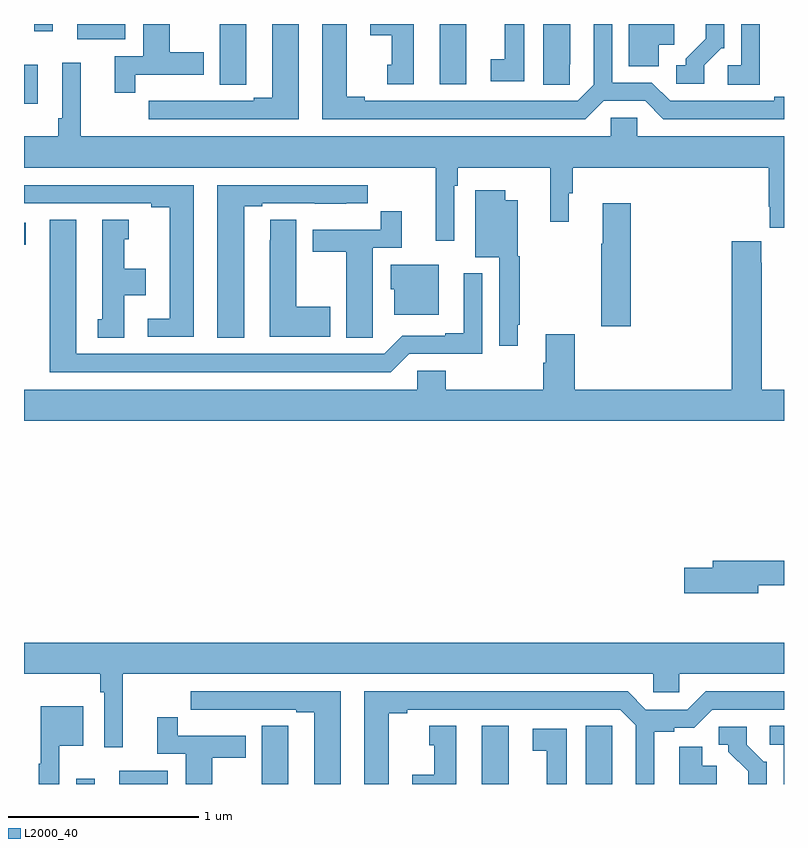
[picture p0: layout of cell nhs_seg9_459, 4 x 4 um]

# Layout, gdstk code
import gdstk
lib = gdstk.Library(unit=1e-6, precision=1e-09)
def R(c, l, rs):  # rectangles x0, y0, x1, y1
    for r in rs: c.add(gdstk.rectangle(r[:2], r[2:], *l))
def P(c, l, *ps):  # polygons
    for p in ps: c.add(gdstk.Polygon(p, *l))
L2000_40 = (2000, 40)

nhs_seg9_459 = lib.new_cell('nhs_seg9_459')
R(nhs_seg9_459, L2000_40, [(133.275,1202.5,133.372,1202.527), (133.502,1202.5,133.756,1202.569), (135.41,1202.5,135.55,1202.806), (133,1205.338,133.009,1205.454), (133,1206.08,133.072,1206.286), (135.188,1206.183,135.328,1206.5), (133.28,1206.419,133.534,1206.5), (133.053,1206.462,133.15,1206.5)])
P(nhs_seg9_459, L2000_40, [(136.051,1206.096),(136.269,1206.096),(136.365,1206),(137,1206),(137,1206.116),(136.949,1206.116),(136.949,1206.096),(136.401,1206.096),(136.305,1206.192),(136.095,1206.192),(136.095,1206.5),(135.999,1206.5),(135.999,1206.18),(135.915,1206.096),(134.794,1206.096),(134.794,1206.116),(134.698,1206.116),(134.698,1206.5),(134.57,1206.5),(134.57,1206),(135.955,1206)],
  [(133.586,1206.234),(133.945,1206.234),(133.945,1206.351),(133.768,1206.351),(133.768,1206.5),(133.628,1206.5),(133.628,1206.33),(133.478,1206.33),(133.478,1206.138),(133.586,1206.138)],
  [(136.873,1206.5),(136.776,1206.5),(136.776,1206.282),(136.704,1206.282),(136.704,1206.181),(136.873,1206.181)],
  [(134.169,1206.289),(134.17,1206.289),(134.17,1206.5),(134.03,1206.5),(134.03,1206.181),(134.169,1206.181)],
  [(134.446,1206.5),(134.306,1206.5),(134.306,1206.111),(134.21,1206.111),(134.21,1206.096),(133.934,1206.096),(133.934,1206.097),(133.768,1206.097),(133.768,1206.096),(133.656,1206.096),(133.656,1206),(134.446,1206)],
  [(136.342,1206.392),(136.423,1206.392),(136.423,1206.5),(136.184,1206.5),(136.184,1206.277),(136.342,1206.277)],
  [(136.581,1206.282),(136.671,1206.372),(136.686,1206.372),(136.686,1206.5),(136.589,1206.5),(136.589,1206.422),(136.484,1206.317),(136.484,1206.282),(136.434,1206.282),(136.434,1206.186),(136.581,1206.186)],
  [(135.634,1206.5),(135.53,1206.5),(135.53,1206.314),(135.456,1206.314),(135.456,1206.198),(135.634,1206.198)],
  [(135.873,1206.289),(135.874,1206.289),(135.874,1206.5),(135.734,1206.5),(135.734,1206.181),(135.873,1206.181)],
  [(135.052,1206.5),(134.822,1206.5),(134.822,1206.44),(134.936,1206.44),(134.936,1206.285),(134.912,1206.285),(134.912,1206.183),(135.052,1206.183)],
  [(135.264,1205.648),(135.284,1205.648),(135.284,1205.744),(135.769,1205.744),(135.769,1205.46),(135.868,1205.46),(135.868,1205.61),(135.887,1205.61),(135.887,1205.744),(136.919,1205.744),(136.919,1205.539),(136.925,1205.539),(136.925,1205.427),(137,1205.427),(137,1205.908),(136.227,1205.908),(136.227,1206.006),(136.089,1206.006),(136.089,1205.908),(133.298,1205.908),(133.298,1206.295),(133.2,1206.295),(133.2,1206.004),(133.18,1206.004),(133.18,1205.908),(133,1205.908),(133,1205.744),(135.167,1205.744),(135.167,1205.358),(135.264,1205.358)],
  [(134.158,1205.541),(134.254,1205.541),(134.254,1205.556),(134.53,1205.556),(134.53,1205.555),(134.696,1205.555),(134.696,1205.556),(134.809,1205.556),(134.809,1205.652),(134.018,1205.652),(134.018,1204.849),(134.158,1204.849)],
  [(133.894,1205.652),(133,1205.652),(133,1205.556),(133.67,1205.556),(133.67,1205.536),(133.766,1205.536),(133.766,1204.95),(133.65,1204.95),(133.65,1204.854),(133.894,1204.854)],
  [(135.598,1204.918),(135.61,1204.918),(135.61,1205.277),(135.598,1205.277),(135.598,1205.572),(135.532,1205.572),(135.532,1205.626),(135.374,1205.626),(135.374,1205.273),(135.501,1205.273),(135.501,1204.806),(135.598,1204.806)],
  [(136.193,1205.557),(136.046,1205.557),(136.046,1205.344),(136.039,1205.344),(136.039,1204.908),(136.193,1204.908)],
  [(134.835,1204.96),(134.836,1204.96),(134.836,1205.322),(134.987,1205.322),(134.987,1205.515),(134.878,1205.515),(134.878,1205.418),(134.519,1205.418),(134.519,1205.302),(134.696,1205.302),(134.696,1204.849),(134.835,1204.849)],
  [(134.611,1205.013),(134.434,1205.013),(134.434,1205.471),(134.295,1205.471),(134.295,1205.363),(134.294,1205.363),(134.294,1204.853),(134.611,1204.853)],
  [(135.027,1204.764),(135.411,1204.764),(135.411,1205.188),(135.314,1205.188),(135.314,1204.873),(135.218,1204.873),(135.218,1204.86),(134.991,1204.86),(134.895,1204.764),(133.276,1204.764),(133.276,1205.47),(133.136,1205.47),(133.136,1204.668),(134.931,1204.668)],
  [(133.528,1205.072),(133.642,1205.072),(133.642,1205.212),(133.528,1205.212),(133.528,1205.367),(133.552,1205.367),(133.552,1205.47),(133.412,1205.47),(133.412,1204.947),(133.388,1204.947),(133.388,1204.849),(133.528,1204.849)],
  [(137,1204.576),(136.884,1204.576),(136.884,1205.243),(136.879,1205.243),(136.879,1205.356),(136.724,1205.356),(136.724,1204.576),(135.899,1204.576),(135.899,1204.867),(135.746,1204.867),(135.746,1204.718),(135.734,1204.718),(135.734,1204.576),(135.221,1204.576),(135.221,1204.674),(135.069,1204.674),(135.069,1204.576),(133,1204.576),(133,1204.412),(137,1204.412)],
  [(135.184,1205.233),(134.93,1205.233),(134.93,1205.103),(134.948,1205.103),(134.948,1204.97),(135.184,1204.97)],
  [(136.864,1203.546),(137,1203.546),(137,1203.674),(136.625,1203.674),(136.625,1203.638),(136.476,1203.638),(136.476,1203.503),(136.864,1203.503)],
  [(133.52,1203.08),(136.311,1203.08),(136.311,1202.982),(136.449,1202.982),(136.449,1203.08),(137,1203.08),(137,1203.244),(133,1203.244),(133,1203.08),(133.402,1203.08),(133.402,1202.984),(133.422,1202.984),(133.422,1202.694),(133.52,1202.694)],
  [(134.92,1202.872),(135.016,1202.872),(135.016,1202.892),(136.137,1202.892),(136.221,1202.808),(136.221,1202.5),(136.318,1202.5),(136.318,1202.776),(136.422,1202.776),(136.422,1202.796),(136.527,1202.796),(136.623,1202.892),(137,1202.892),(137,1202.988),(136.587,1202.988),(136.491,1202.892),(136.273,1202.892),(136.177,1202.988),(134.792,1202.988),(134.792,1202.5),(134.92,1202.5)],
  [(134.668,1202.988),(133.878,1202.988),(133.878,1202.892),(133.99,1202.892),(133.99,1202.891),(134.156,1202.891),(134.156,1202.892),(134.432,1202.892),(134.432,1202.877),(134.528,1202.877),(134.528,1202.5),(134.668,1202.5)],
  [(133.185,1202.702),(133.312,1202.702),(133.312,1202.908),(133.088,1202.908),(133.088,1202.606),(133.077,1202.606),(133.077,1202.5),(133.185,1202.5)],
  [(133.99,1202.638),(134.167,1202.638),(134.167,1202.754),(133.808,1202.754),(133.808,1202.851),(133.7,1202.851),(133.7,1202.658),(133.85,1202.658),(133.85,1202.5),(133.99,1202.5)],
  [(136.096,1202.699),(136.095,1202.699),(136.095,1202.807),(135.956,1202.807),(135.956,1202.5),(136.096,1202.5)],
  [(137,1202.807),(136.926,1202.807),(136.926,1202.706),(136.998,1202.706),(136.998,1202.5),(137,1202.5)],
  [(134.392,1202.699),(134.391,1202.699),(134.391,1202.807),(134.252,1202.807),(134.252,1202.5),(134.392,1202.5)],
  [(135.274,1202.806),(135.134,1202.806),(135.134,1202.703),(135.158,1202.703),(135.158,1202.548),(135.044,1202.548),(135.044,1202.5),(135.274,1202.5)],
  [(136.908,1202.616),(136.893,1202.616),(136.803,1202.706),(136.803,1202.802),(136.656,1202.802),(136.656,1202.706),(136.706,1202.706),(136.706,1202.671),(136.811,1202.566),(136.811,1202.5),(136.908,1202.5)],
  [(135.856,1202.79),(135.678,1202.79),(135.678,1202.674),(135.752,1202.674),(135.752,1202.5),(135.856,1202.5)],
  [(136.645,1202.596),(136.57,1202.596),(136.57,1202.695),(136.448,1202.695),(136.448,1202.5),(136.645,1202.5)])

lib.write_gds('nhs_seg9_459.gds')
